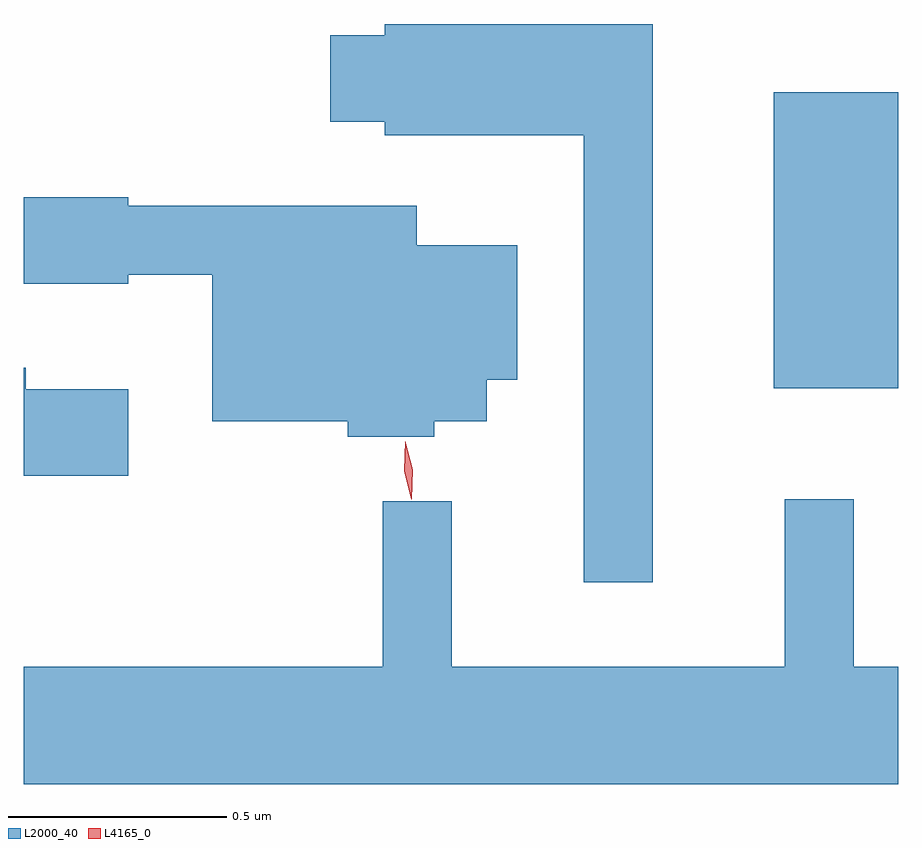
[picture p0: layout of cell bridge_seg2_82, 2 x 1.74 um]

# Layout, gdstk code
import gdstk
lib = gdstk.Library(unit=1e-6, precision=1e-09)
def R(c, l, rs):  # rectangles x0, y0, x1, y1
    for r in rs: c.add(gdstk.rectangle(r[:2], r[2:], *l))
def P(c, l, *ps):  # polygons
    for p in ps: c.add(gdstk.Polygon(p, *l))
L2000_40 = (2000, 40)
L4165_0 = (4165, 0)

bridge_seg2_82 = lib.new_cell('bridge_seg2_82')
R(bridge_seg2_82, L2000_40, [(1227.471,1064.761,1227.755,1065.439)])
P(bridge_seg2_82, L2000_40, [(1227.194,1065.595),(1226.581,1065.595),(1226.581,1065.569),(1226.456,1065.569),(1226.456,1065.371),(1226.581,1065.371),(1226.581,1065.341),(1227.036,1065.341),(1227.036,1064.318),(1227.194,1064.318)],
  [(1226.694,1064.686),(1226.814,1064.686),(1226.814,1064.781),(1226.884,1064.781),(1226.884,1065.089),(1226.654,1065.089),(1226.654,1065.179),(1225.994,1065.179),(1225.994,1065.199),(1225.755,1065.199),(1225.755,1065.001),(1225.994,1065.001),(1225.994,1065.021),(1226.186,1065.021),(1226.186,1064.686),(1226.496,1064.686),(1226.496,1064.651),(1226.694,1064.651)],
  [(1225.994,1064.759),(1225.759,1064.759),(1225.759,1064.809),(1225.755,1064.809),(1225.755,1064.561),(1225.994,1064.561)],
  [(1227.755,1064.124),(1227.654,1064.124),(1227.654,1064.508),(1227.496,1064.508),(1227.496,1064.124),(1226.734,1064.124),(1226.734,1064.503),(1226.576,1064.503),(1226.576,1064.124),(1225.755,1064.124),(1225.755,1063.856),(1227.755,1063.856)])
P(bridge_seg2_82, L4165_0, [(1226.641,1064.508),(1226.625,1064.573),(1226.627,1064.64),(1226.628,1064.64),(1226.628,1064.64),(1226.645,1064.575),(1226.642,1064.508),(1226.642,1064.508)])

lib.write_gds('bridge_seg2_82.gds')
